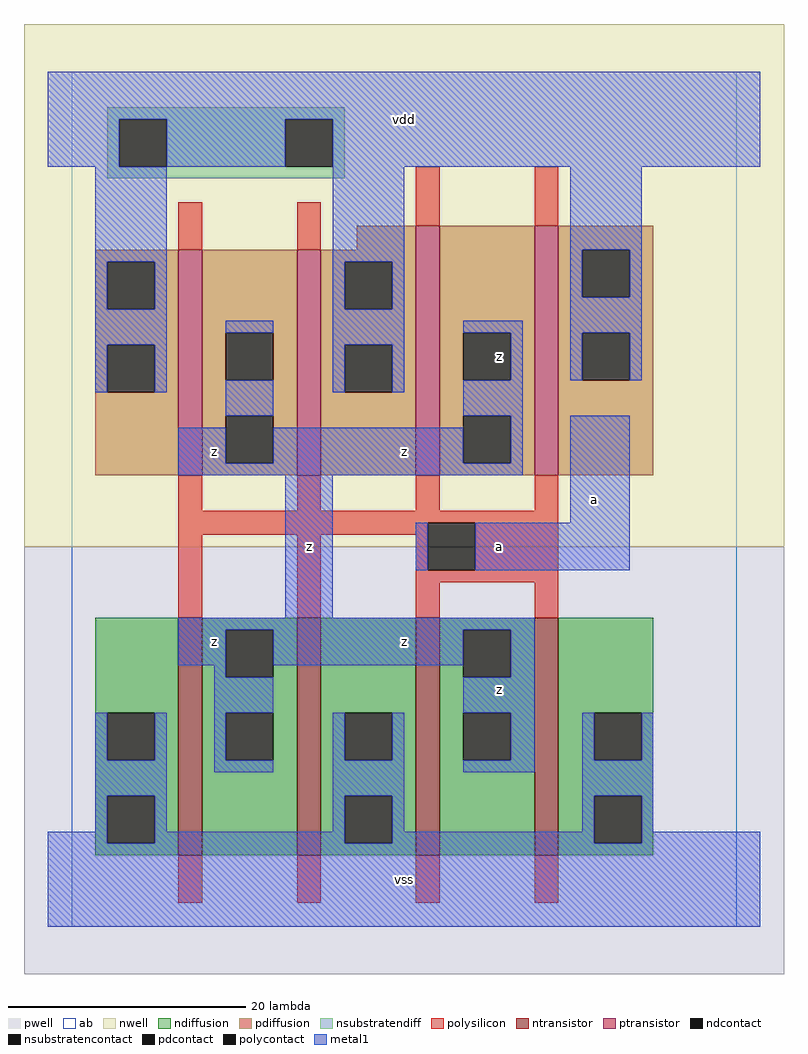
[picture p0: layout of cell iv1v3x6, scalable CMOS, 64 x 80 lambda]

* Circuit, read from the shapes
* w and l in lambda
.subckt iv1v3x6 a vdd vss z
M1 z a vss VSUBS nfet w=20 l=2 m=4
M2 z a vdd vdd pfet w=19 l=2 m=2
M3 z a vdd vdd pfet w=21 l=2 m=2
.ends

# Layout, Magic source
magic
tech scmos
<< ab >>
rect 0 0 56 72
<< pwell >>
rect -4 -4 60 32
<< nwell >>
rect -4 32 60 76
<< polysilicon >>
rect 9 57 11 61
rect 19 57 21 61
rect 29 59 31 64
rect 39 59 41 64
rect 9 35 11 38
rect 19 35 21 38
rect 29 35 31 38
rect 39 35 41 38
rect 9 34 41 35
rect 9 33 30 34
rect 9 26 11 33
rect 19 26 21 33
rect 29 30 30 33
rect 34 30 41 34
rect 29 29 41 30
rect 29 26 31 29
rect 39 26 41 29
rect 9 2 11 6
rect 19 2 21 6
rect 29 2 31 6
rect 39 2 41 6
<< ndiffusion >>
rect 2 18 9 26
rect 2 14 3 18
rect 7 14 9 18
rect 2 11 9 14
rect 2 7 3 11
rect 7 7 9 11
rect 2 6 9 7
rect 11 25 19 26
rect 11 21 13 25
rect 17 21 19 25
rect 11 18 19 21
rect 11 14 13 18
rect 17 14 19 18
rect 11 6 19 14
rect 21 18 29 26
rect 21 14 23 18
rect 27 14 29 18
rect 21 11 29 14
rect 21 7 23 11
rect 27 7 29 11
rect 21 6 29 7
rect 31 25 39 26
rect 31 21 33 25
rect 37 21 39 25
rect 31 18 39 21
rect 31 14 33 18
rect 37 14 39 18
rect 31 6 39 14
rect 41 18 49 26
rect 41 14 44 18
rect 48 14 49 18
rect 41 11 49 14
rect 41 7 44 11
rect 48 7 49 11
rect 41 6 49 7
<< pdiffusion >>
rect 24 57 29 59
rect 2 56 9 57
rect 2 52 3 56
rect 7 52 9 56
rect 2 49 9 52
rect 2 45 3 49
rect 7 45 9 49
rect 2 38 9 45
rect 11 50 19 57
rect 11 46 13 50
rect 17 46 19 50
rect 11 43 19 46
rect 11 39 13 43
rect 17 39 19 43
rect 11 38 19 39
rect 21 56 29 57
rect 21 52 23 56
rect 27 52 29 56
rect 21 49 29 52
rect 21 45 23 49
rect 27 45 29 49
rect 21 38 29 45
rect 31 50 39 59
rect 31 46 33 50
rect 37 46 39 50
rect 31 43 39 46
rect 31 39 33 43
rect 37 39 39 43
rect 31 38 39 39
rect 41 57 49 59
rect 41 53 43 57
rect 47 53 49 57
rect 41 50 49 53
rect 41 46 43 50
rect 47 46 49 50
rect 41 38 49 46
<< metal1 >>
rect -2 68 58 72
rect -2 64 4 68
rect 8 64 18 68
rect 22 64 58 68
rect 2 56 8 64
rect 2 52 3 56
rect 7 52 8 56
rect 2 49 8 52
rect 22 56 28 64
rect 22 52 23 56
rect 27 52 28 56
rect 2 45 3 49
rect 7 45 8 49
rect 13 50 17 51
rect 13 43 17 46
rect 22 49 28 52
rect 42 57 48 64
rect 42 53 43 57
rect 47 53 48 57
rect 22 45 23 49
rect 27 45 28 49
rect 33 50 38 51
rect 37 46 38 50
rect 42 50 48 53
rect 42 46 43 50
rect 47 46 48 50
rect 9 39 13 42
rect 33 43 38 46
rect 17 39 33 42
rect 37 39 38 43
rect 9 38 38 39
rect 18 26 22 38
rect 42 34 47 43
rect 29 30 30 34
rect 34 30 47 34
rect 9 25 39 26
rect 9 22 13 25
rect 12 21 13 22
rect 17 22 33 25
rect 12 18 17 21
rect 37 21 39 25
rect 33 18 39 21
rect 2 14 3 18
rect 7 14 8 18
rect 2 11 8 14
rect 12 14 13 18
rect 12 13 17 14
rect 22 14 23 18
rect 27 14 28 18
rect 2 8 3 11
rect -2 7 3 8
rect 7 8 8 11
rect 22 11 28 14
rect 37 14 39 18
rect 33 13 39 14
rect 43 14 44 18
rect 48 14 49 18
rect 22 8 23 11
rect 7 7 23 8
rect 27 8 28 11
rect 43 11 49 14
rect 43 8 44 11
rect 27 7 44 8
rect 48 8 49 11
rect 48 7 58 8
rect -2 0 58 7
<< ntransistor >>
rect 9 6 11 26
rect 19 6 21 26
rect 29 6 31 26
rect 39 6 41 26
<< ptransistor >>
rect 9 38 11 57
rect 19 38 21 57
rect 29 38 31 59
rect 39 38 41 59
<< polycontact >>
rect 30 30 34 34
<< ndcontact >>
rect 3 14 7 18
rect 3 7 7 11
rect 13 21 17 25
rect 13 14 17 18
rect 23 14 27 18
rect 23 7 27 11
rect 33 21 37 25
rect 33 14 37 18
rect 44 14 48 18
rect 44 7 48 11
<< pdcontact >>
rect 3 52 7 56
rect 3 45 7 49
rect 13 46 17 50
rect 13 39 17 43
rect 23 52 27 56
rect 23 45 27 49
rect 33 46 37 50
rect 33 39 37 43
rect 43 53 47 57
rect 43 46 47 50
<< nsubstratencontact >>
rect 4 64 8 68
rect 18 64 22 68
<< nsubstratendiff >>
rect 3 68 23 69
rect 3 64 4 68
rect 8 64 18 68
rect 22 64 23 68
rect 3 63 23 64
<< labels >>
rlabel metal1 12 24 12 24 6 z
rlabel metal1 20 32 20 32 6 z
rlabel metal1 12 40 12 40 6 z
rlabel metal1 28 4 28 4 6 vss
rlabel metal1 36 20 36 20 6 z
rlabel metal1 28 24 28 24 6 z
rlabel metal1 36 32 36 32 6 a
rlabel metal1 28 40 28 40 6 z
rlabel pdcontact 36 48 36 48 6 z
rlabel metal1 28 68 28 68 6 vdd
rlabel metal1 44 36 44 36 6 a
<< end >>
